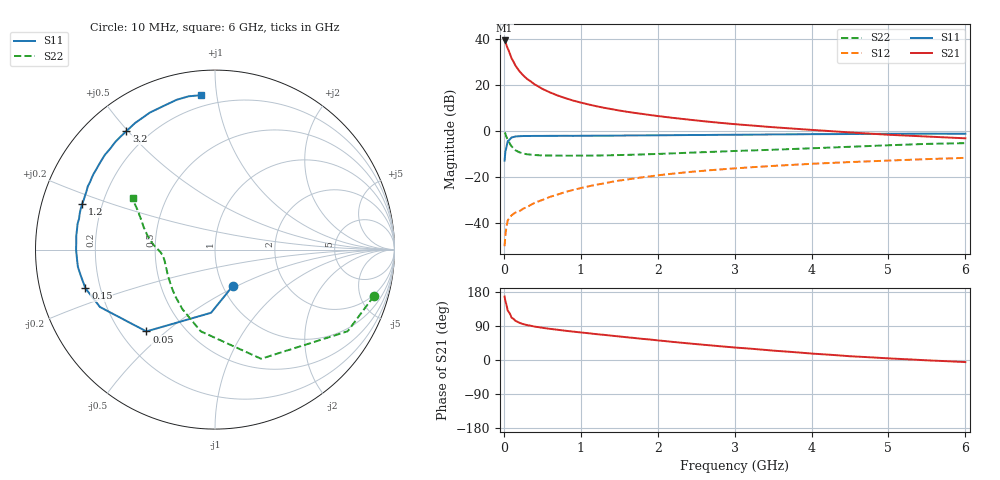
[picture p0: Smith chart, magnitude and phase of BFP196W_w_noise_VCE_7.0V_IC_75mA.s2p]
! Infineon Technologies  Discrete & RF Semiconductors
! BFP196W
! VCE =  7.0 V,  IC =  75 mA
! Common Emitter S-Parameters:  Jan 2017
# GHz  S  MA  R  50
!  f  S11  S21  S12  S22
! GHz  MAG  ANG  MAG  ANG  MAG  ANG  MAG  ANG
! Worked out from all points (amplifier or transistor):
!   77 points, 10 MHz to 6 GHz, reference 50 ohm
!   highest |S21| = 39.3 dB at 10 MHz (marker M1)
!   |S21| within 3 dB of that: start of sweep to 44.83 MHz
!   unconditionally stable (mu >= 1): 601.4 MHz to 3.262 GHz
!   at 130 MHz: K = 0.50, MSG = 32.9 dB, |S12| = -36.0 dB
!   at 2.2 GHz: K = 1.03, MAG = 11.0 dB, |S12| = -18.6 dB
!   at 6 GHz: K = 0.94, MSG = 4.2 dB, |S12| = -11.8 dB
!   lowest NFmin = 1.62 dB at 450 MHz
!   S11 on the Smith chart (normalised r, x): 10 MHz: 1.12, -0.47; 50 MHz: 0.30, -0.43; 150 MHz: 0.14, -0.14; 1.2 GHz: 0.13, +0.16; 3.2 GHz: 0.12, +0.49; 6 GHz: 0.13, +0.91
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0.01  0.2245 -63.3  92.14 167.4  0.0031 79.3  0.9223 -16.3
0.02  0.3528 -93.6  86 155.2  0.0054 73.3  0.8681 -31.6
0.05  0.595 -130.0  61.99 130.4  0.0112 50.8  0.6604 -67.1
0.1  0.7165 -153.5  37.67 111.8  0.0145 45.7  0.4622 -99.9
0.15  0.7535 -163.4  26.34 103.5  0.0167 44.6  0.3782 -118.7
0.2  0.7617 -169.0  20.05 98.4  0.0177 47.6  0.3416 -130.3
0.25  0.7699 -172.8  16.15 94.8  0.0202 48.7  0.3208 -138.8
0.3  0.7705 -175.7  13.51 92.2  0.0219 53.0  0.3089 -144.6
0.4  0.774 -180.0  10.21 88.1  0.0271 56.9  0.2975 -152.6
0.5  0.774 176.9  8.171 85.0  0.0313 60.2  0.2915 -157.8
0.6  0.7768 174.2  6.835 82.2  0.0366 61.7  0.2902 -161.5
0.7  0.7768 171.8  5.852 79.8  0.0412 63.9  0.288 -164.1
0.9  0.7767 167.2  4.548 75.0  0.0517 65.0  0.2879 -167.7
1.1  0.7818 163.2  3.745 70.6  0.0619 65.1  0.2893 -170.4
1.2  0.7823 161.1  3.432 68.3  0.0671 64.3  0.2901 -171.7
1.6  0.7915 153.6  2.597 60.0  0.0872 62.6  0.2993 -175.9
2.1  0.8004 144.4  2.001 49.8  0.1123 58.8  0.3187 179.6
3.1  0.8221 128.3  1.353 31.5  0.1563 49.8  0.3685 171.2
3.2  0.8242 126.8  1.313 30.0  0.1603 48.9  0.3732 170.2
4.1  0.8455 114.2  1.021 15.7  0.1948 41.2  0.4229 161.4
5.1  0.8623 103.4  0.806 3.3  0.2285 33.0  0.4913 152.3
6  0.8637 95.0  0.686 -5.5  0.2581 26.0  0.5391 147.7
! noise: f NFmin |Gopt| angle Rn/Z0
0.45  1.62  0.56  -175  0.06
0.9  1.75  0.59  -169  0.07
1.9  2.61  0.7  -148  0.19
2.4  3.01  0.74  -143  0.31
